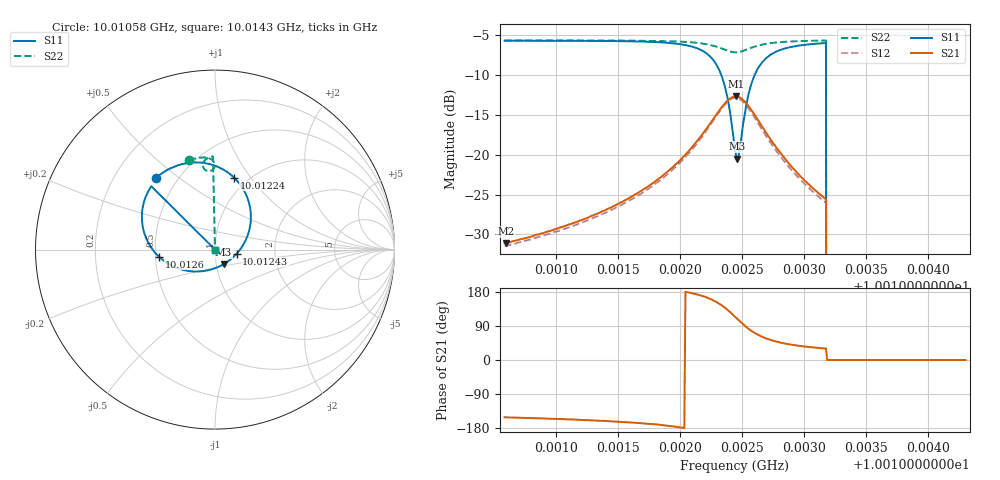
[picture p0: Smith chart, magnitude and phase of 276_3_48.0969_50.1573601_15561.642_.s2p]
#  HZ  S  RI  R  50.00
! Rohde & Schwarz Vector Network Analyzer
! Rohde-Schwarz,ZNB20-2Port,1311601062101988,3.16
! Created: UTC 12/23/2023, 4:02:17 AM
! freq[Hz]  re:S11  im:S11  re:S21  im:S21  re:S12  im:S12  re:S22  im:S22
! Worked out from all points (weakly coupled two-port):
!   401 points, 10.01058 GHz to 10.0143 GHz, reference 50 ohm
!   highest |S21| = -12.71 dB at 10.01245 GHz (marker M1); lowest = -31.1 dB at 10.01059 GHz (marker M2)
!   lowest |S11| = -20.5 dB at 10.01246 GHz (marker M3), VSWR 1.21, Z = 54.3 - j8.93 ohm
!   |S11| at or under -10 dB: 10.01233 GHz to 10.0126 GHz (270.3 kHz wide, 0.0027 % of centre); 10.01318 GHz to end of sweep
!   |S22| runs from - to -5.7 dB; largest |S21 - S12| = 0.011
!   S11 on the Smith chart (normalised r, x): 10.01058 GHz: 0.38, +0.41; 10.01224 GHz: 0.86, +0.84; 10.01243 GHz: 1.27, -0.06; 10.0126 GHz: 0.52, -0.05; 10.0143 GHz: 1.00, +0.00
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1.0010585e10  -0.3313 0.3982  -0.0243 -0.0135  -0.0227 -0.0141  -0.1457 0.4989
1.0010594e10  -0.3305 0.3989  -0.0244 -0.0134  -0.0228 -0.014  -0.1449 0.4988
1.0011207e10  -0.2741 0.4389  -0.0363 -0.0144  -0.034 -0.0158  -0.1033 0.5092
1.0011829e10  -0.1562 0.482  -0.0699 -0.0113  -0.0667 -0.0144  -0.0532 0.5131
1.0012098e10  -0.0226 0.4746  -0.1116 0.00752  -0.1085 0.00111  -0.0235 0.505
1.0012238e10  0.1059 0.4014  -0.1474 0.0484  -0.1462 0.0387  -0.00582 0.4882
1.0012349e10  0.199 0.207  -0.1595 0.1288  -0.1625 0.1186  -0.00307 0.4588
1.0012386e10  0.1904 0.1057  -0.1447 0.1655  -0.1489 0.1571  -0.01 0.4474
1.0012433e10  0.121 -0.0226  -0.1052 0.2055  -0.111 0.1975  -0.0255 0.4378
1.0012442e10  0.0982 -0.0452  -0.0946 0.2113  -0.1012 0.2034  -0.0291 0.437
1.0012451e10  0.0756 -0.0636  -0.0847 0.2155  -0.0898 0.2085  -0.0333 0.4367
1.001246e10  0.0479 -0.0815  -0.0733 0.2191  -0.0788 0.2121  -0.0369 0.4368
1.0012479e10  -0.00712 -0.1065  -0.0502 0.223  -0.0552 0.2163  -0.0443 0.4383
1.0012525e10  -0.1502 -0.1186  0.00454 0.2132  -0.00238 0.2072  -0.0591 0.4484
1.00126e10  -0.3123 -0.0392  0.0563 0.1687  0.0498 0.1634  -0.0673 0.4706
1.0012683e10  -0.3888 0.0774  0.0747 0.1193  0.0674 0.1163  -0.0625 0.4897
1.0012804e10  -0.4069 0.1979  0.0716 0.0747  0.065 0.0738  -0.0489 0.5049
1.0013064e10  -0.3718 0.3247  0.0518 0.0344  0.0478 0.0348  -0.0215 0.517
1.0013157e10  -0.3577 0.349  0.0464 0.0274  0.0428 0.0282  -0.013 0.5188
1.0013203e10  0 0  0 0  0 0  0 0
1.0013686e10  0 0  0 0  0 0  0 0
1.0014299e10  0 0  0 0  0 0  0 0
